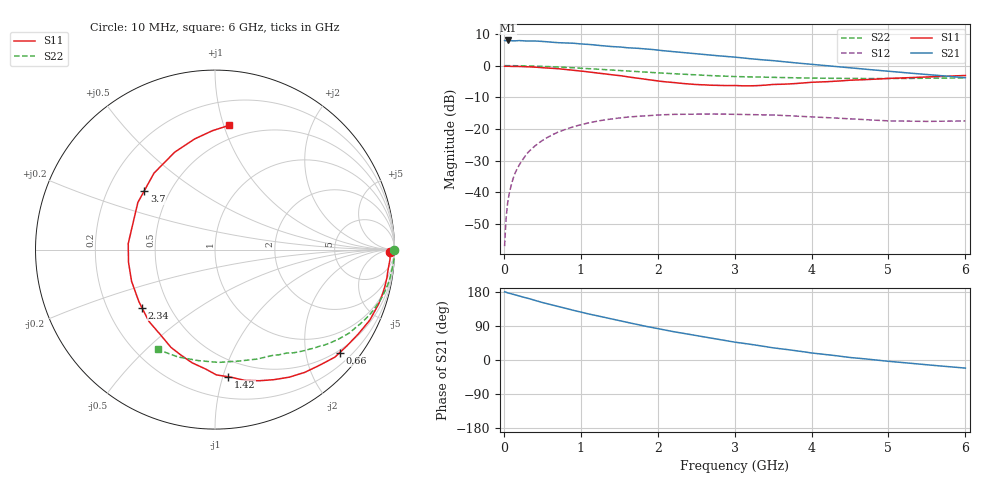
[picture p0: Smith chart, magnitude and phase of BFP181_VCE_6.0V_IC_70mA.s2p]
! Infineon Technologies  Discrete & RF Semiconductors
! BFP181
! VCE = 6.0 V,  IC =  70 mA
! Common Emitter S-Parameters:  Jan 2016
# GHz  S  MA  R  50
!  f  S11  S21  S12  S22
! GHz  MAG  ANG  MAG  ANG  MAG  ANG  MAG  ANG
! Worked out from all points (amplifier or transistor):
!   210 points, 10 MHz to 6 GHz, reference 50 ohm
!   highest |S21| = 7.9 dB at 50 MHz (marker M1)
!   |S21| within 3 dB of that: start of sweep to 1.984 GHz
!   unconditionally stable (mu >= 1): 3.577 GHz to end of sweep
!   at 185 MHz: K = 0.07, MSG = 20.0 dB, |S12| = -32.1 dB
!   at 1.52 GHz: K = 0.47, MSG = 11.2 dB, |S12| = -16.5 dB
!   at 6 GHz: K = 1.36, MAG = 3.3 dB, |S12| = -17.5 dB
!   S11 on the Smith chart (normalised r, x): 10 MHz: 67, -34; 660 MHz: 0.44, -2.71; 1.42 GHz: 0.36, -1.04; 2.34 GHz: 0.35, -0.31; 3.7 GHz: 0.36, +0.32; 6 GHz: 0.39, +1.04
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0.01  0.9765 -0.7  2.492 179.7  0.0014 84.1  0.9988 -0.2
0.03  0.9747 -1.7  2.476 178.7  0.0039 89.0  0.9973 -0.9
0.05  0.977 -3.0  2.496 177.2  0.0068 89.2  0.9965 -1.5
0.085  0.9723 -5.1  2.474 175.3  0.0115 85.7  0.9985 -2.5
0.13  0.9706 -7.8  2.461 172.9  0.0177 83.6  0.997 -3.7
0.26  0.9644 -15.7  2.46 165.6  0.0347 79.1  0.9903 -7.6
0.5  0.9265 -30.5  2.412 151.8  0.0655 68.7  0.9729 -14.4
0.66  0.9013 -39.6  2.324 143.7  0.0839 62.7  0.9552 -18.7
0.9  0.847 -53.9  2.258 131.3  0.1079 53.4  0.9237 -24.7
1.02  0.8164 -60.9  2.194 125.5  0.1178 49.3  0.9061 -27.5
1.1  0.7957 -65.6  2.174 121.5  0.1244 46.6  0.8946 -29.3
1.42  0.7125 -84.0  1.995 107.5  0.1445 36.4  0.8483 -36.2
1.7  0.6432 -101.5  1.893 95.2  0.1568 28.8  0.8076 -41.3
2.02  0.5679 -121.2  1.747 82.1  0.166 21.2  0.7657 -46.4
2.34  0.5199 -141.6  1.602 70.1  0.1703 14.1  0.7293 -51.7
2.8  0.4871 -171.7  1.427 53.9  0.1716 6.0  0.6876 -58.4
3.1  0.4793 170.5  1.322 44.5  0.1687 1.4  0.6666 -63.0
3.7  0.5124 140.2  1.131 27.1  0.1613 -5.4  0.6439 -72.6
4.1  0.5498 125.2  1.021 16.4  0.1528 -8.7  0.6321 -80.1
4.5  0.5874 112.5  0.923 6.6  0.1442 -10.8  0.6288 -88.1
5.1  0.6328 98.5  0.795 -5.2  0.1332 -9.8  0.6251 -100.5
6  0.6974 83.4  0.644 -21.4  0.1337 -4.6  0.6419 -119.9
